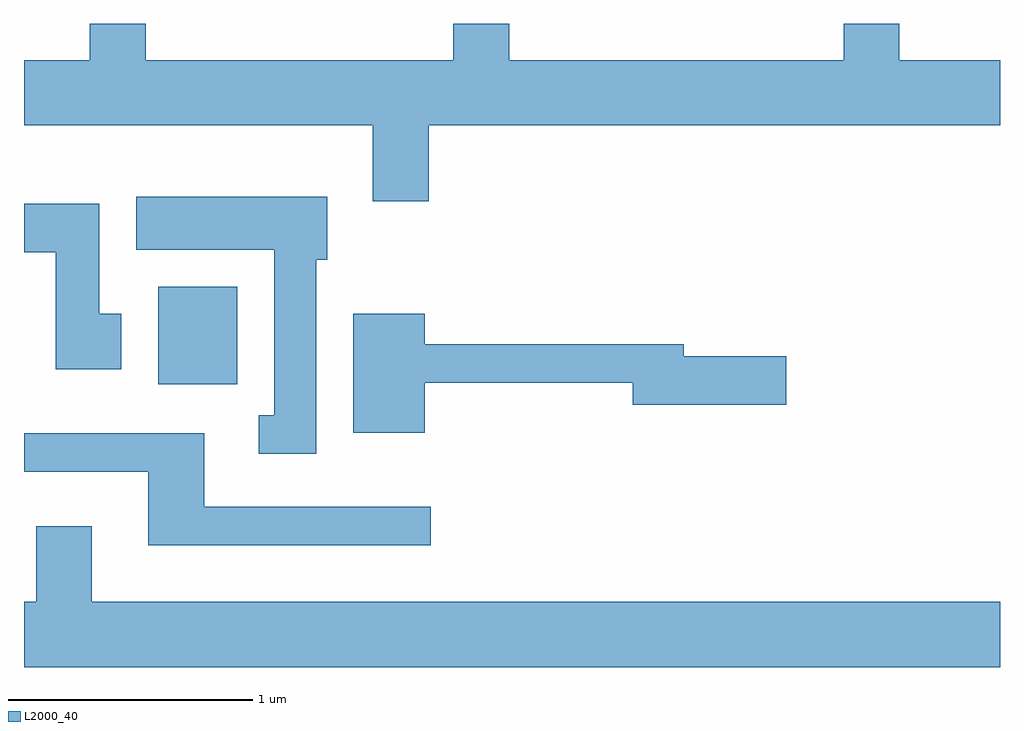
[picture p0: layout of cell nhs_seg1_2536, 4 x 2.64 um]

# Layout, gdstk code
import gdstk
lib = gdstk.Library(unit=1e-6, precision=1e-09)
def R(c, l, rs):  # rectangles x0, y0, x1, y1
    for r in rs: c.add(gdstk.rectangle(r[:2], r[2:], *l))
def P(c, l, *ps):  # polygons
    for p in ps: c.add(gdstk.Polygon(p, *l))
L2000_40 = (2000, 40)

nhs_seg1_2536 = lib.new_cell('nhs_seg1_2536')
R(nhs_seg1_2536, L2000_40, [(262.161,956.236,262.484,956.634)])
P(nhs_seg1_2536, L2000_40, [(263.269,957.296),(265.611,957.296),(265.611,957.564),(265.199,957.564),(265.199,957.712),(264.971,957.712),(264.971,957.564),(263.599,957.564),(263.599,957.712),(263.371,957.712),(263.371,957.564),(262.109,957.564),(262.109,957.712),(261.881,957.712),(261.881,957.564),(261.611,957.564),(261.611,957.296),(263.041,957.296),(263.041,956.986),(263.269,956.986)],
  [(262.809,956.746),(262.854,956.746),(262.854,957.004),(262.071,957.004),(262.071,956.786),(262.636,956.786),(262.636,956.109),(262.573,956.109),(262.573,955.951),(262.809,955.951)],
  [(262.009,956.524),(261.919,956.524),(261.919,956.974),(261.611,956.974),(261.611,956.776),(261.741,956.776),(261.741,956.296),(262.009,956.296)],
  [(263.254,956.241),(264.106,956.241),(264.106,956.151),(264.734,956.151),(264.734,956.349),(264.314,956.349),(264.314,956.399),(263.254,956.399),(263.254,956.524),(262.961,956.524),(262.961,956.036),(263.254,956.036)],
  [(263.278,955.734),(262.349,955.734),(262.349,956.034),(261.611,956.034),(261.611,955.876),(262.121,955.876),(262.121,955.576),(263.278,955.576)],
  [(265.611,955.344),(261.889,955.344),(261.889,955.654),(261.661,955.654),(261.661,955.344),(261.611,955.344),(261.611,955.076),(265.611,955.076)])

lib.write_gds('nhs_seg1_2536.gds')
